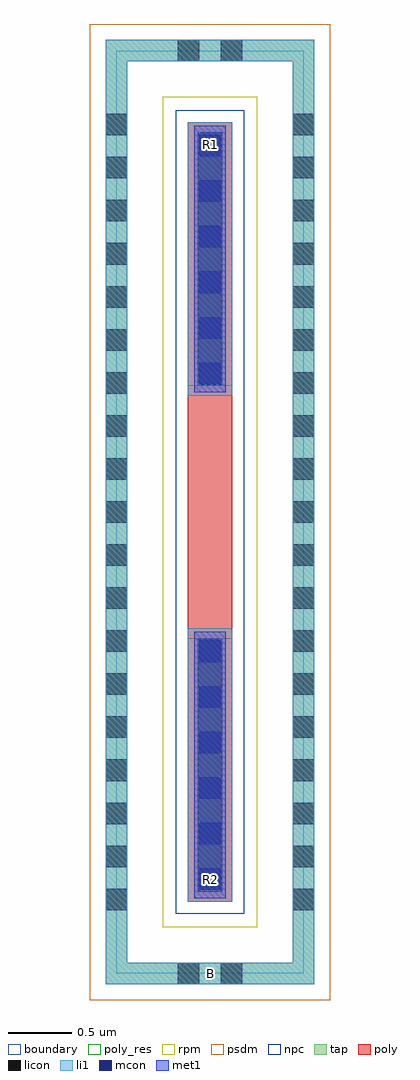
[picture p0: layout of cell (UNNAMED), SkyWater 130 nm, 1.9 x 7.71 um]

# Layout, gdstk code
import gdstk
lib = gdstk.Library(unit=1e-6, precision=1e-09)
def R(c, l, rs):  # rectangles x0, y0, x1, y1
    for r in rs: c.add(gdstk.rectangle(r[:2], r[2:], *l))
def A(c, l, x, y, w, h, nx, ny, dx, dy):  # array of equal rectangles
    R(c, l, [(x+i*dx, y+j*dy, x+i*dx+w, y+j*dy+h) for i in range(nx) for j in range(ny)])
tap = (65, 44)
poly_res = (66, 13)
poly = (66, 20)
licon = (66, 44)
li1 = (67, 20)
mcon = (67, 44)
met1 = (68, 20)
rpm = (86, 20)
psdm = (94, 20)
npc = (95, 20)
boundary = (235, 4)

c__unnamed_ = lib.new_cell('(UNNAMED)')
R(c__unnamed_, tap, [(-0.825,-3.73,0.825,-3.56), (-0.825,-3.56,-0.655,3.56), (0.655,-3.56,0.825,3.56), (-0.825,3.56,0.825,3.73)])
R(c__unnamed_, poly_res, [(-0.175,-1,0.175,1)])
R(c__unnamed_, poly, [(-0.175,-3.08,0.175,3.08)])
A(c__unnamed_, licon, -0.825, -3.145, 0.17, 0.17, 1, 19, 0, 0.34)
A(c__unnamed_, licon, 0.655, -3.145, 0.17, 0.17, 1, 19, 0, 0.34)
R(c__unnamed_, licon, [(-0.255,-3.73,-0.085,-3.56), (0.085,-3.73,0.255,-3.56), (-0.095,-3,0.095,-1), (-0.095,1,0.095,3), (-0.255,3.56,-0.085,3.73), (0.085,3.56,0.255,3.73)])
R(c__unnamed_, li1, [(-0.825,-3.73,0.825,-3.56), (-0.825,-3.56,-0.655,3.56), (0.655,-3.56,0.825,3.56), (-0.175,-3.08,0.175,-0.92), (-0.175,0.92,0.175,3.08), (-0.825,3.56,0.825,3.73)])
A(c__unnamed_, mcon, -0.085, -2.985, 0.17, 0.17, 1, 6, 0, 0.36)
A(c__unnamed_, mcon, -0.085, 1.01, 0.17, 0.17, 1, 6, 0, 0.36)
R(c__unnamed_, met1, [(-0.125,-3.05,0.125,-0.945), (-0.125,0.945,0.125,3.05)])
R(c__unnamed_, rpm, [(-0.375,-3.28,0.375,3.28)])
R(c__unnamed_, psdm, [(-0.95,-3.855,0.95,3.855)])
R(c__unnamed_, npc, [(-0.27,-3.175,0.27,3.175)])
R(c__unnamed_, boundary, [(-0.74,-3.645,0.74,3.645)])
c__unnamed_.add(gdstk.Label('B', (0,-3.645), layer=67, texttype=5))
c__unnamed_.add(gdstk.Label('R1', (0,2.905), layer=67, texttype=5))
c__unnamed_.add(gdstk.Label('R2', (0,-2.905), layer=67, texttype=5))

lib.write_gds('_UNNAMED_.gds')
